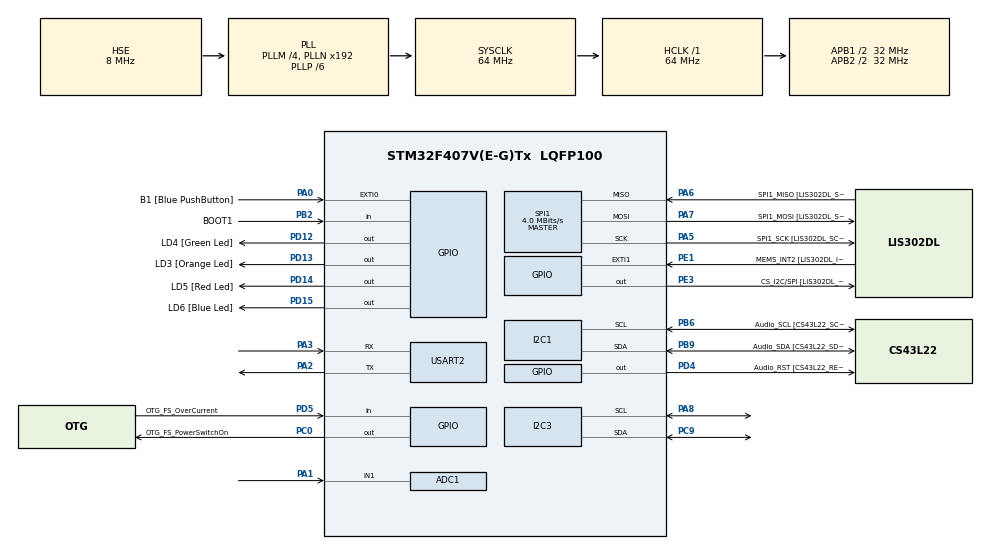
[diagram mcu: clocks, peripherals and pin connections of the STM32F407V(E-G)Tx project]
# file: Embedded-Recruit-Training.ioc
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ADC1.Channel-0\#ChannelRegularConversion=ADC_CHANNEL_1
ADC1.ClockPrescaler=ADC_CLOCK_SYNC_PCLK_DIV4
ADC1.NbrOfConversionFlag=1
ADC1.Rank-0\#ChannelRegularConversion=1
ADC1.SamplingTime-0\#ChannelRegularConversion=ADC_SAMPLETIME_3CYCLES
ADC1.master=1
Mcu.Family=STM32F4
Mcu.Name=STM32F407V(E-G)Tx
Mcu.Package=LQFP100
NVIC.PriorityGroup=NVIC_PRIORITYGROUP_0
PA0-WKUP.GPIO_Label=B1 [Blue PushButton]
PA0-WKUP.GPIO_ModeDefaultEXTI=GPIO_MODE_EVT_RISING
PA0-WKUP.GPIO_PuPd=GPIO_NOPULL
PA0-WKUP.Signal=GPXTI0
PA1.Signal=ADCx_IN1
PA10.GPIO_Label=OTG_FS_ID
PA10.GPIO_Mode=GPIO_MODE_AF_PP
PA10.GPIO_PuPd=GPIO_NOPULL
PA10.GPIO_Speed=GPIO_SPEED_FREQ_LOW
PA10.Signal=USB_OTG_FS_ID
PA11.GPIO_Label=OTG_FS_DM
PA11.GPIO_Mode=GPIO_MODE_AF_PP
PA11.GPIO_PuPd=GPIO_NOPULL
PA11.GPIO_Speed=GPIO_SPEED_FREQ_LOW
PA11.Signal=USB_OTG_FS_DM
PA12.GPIO_Label=OTG_FS_DP
PA12.GPIO_Mode=GPIO_MODE_AF_PP
PA12.GPIO_PuPd=GPIO_NOPULL
PA12.GPIO_Speed=GPIO_SPEED_FREQ_LOW
PA12.Signal=USB_OTG_FS_DP
PA13.GPIO_Label=SWDIO
PA13.Mode=Serial_Wire
PA13.Signal=SYS_JTMS-SWDIO
PA14.GPIO_Label=SWCLK
PA14.Mode=Serial_Wire
PA14.Signal=SYS_JTCK-SWCLK
PA2.Mode=Asynchronous
PA2.Signal=USART2_TX
PA3.Mode=Asynchronous
PA3.Signal=USART2_RX
PA4.GPIO_Label=I2S3_WS [CS43L22_LRCK]
PA4.GPIO_Mode=GPIO_MODE_AF_PP
PA4.GPIO_PuPd=GPIO_NOPULL
PA4.GPIO_Speed=GPIO_SPEED_FREQ_LOW
PA4.Signal=I2S3_WS
PA5.GPIO_Label=SPI1_SCK [LIS302DL_SCL/SPC]
PA5.GPIO_Mode=GPIO_MODE_AF_PP
PA5.GPIO_PuPd=GPIO_NOPULL
PA5.GPIO_Speed=GPIO_SPEED_FREQ_LOW
PA5.Mode=Full_Duplex_Master
PA5.Signal=SPI1_SCK
PA6.GPIO_Label=SPI1_MISO [LIS302DL_SDO]
PA6.GPIO_Mode=GPIO_MODE_AF_PP
PA6.GPIO_PuPd=GPIO_NOPULL
PA6.GPIO_Speed=GPIO_SPEED_FREQ_LOW
PA6.Mode=Full_Duplex_Master
PA6.Signal=SPI1_MISO
PA7.GPIO_Label=SPI1_MOSI [LIS302DL_SDA/SDI/SDO]
PA7.GPIO_Mode=GPIO_MODE_AF_PP
PA7.GPIO_PuPd=GPIO_NOPULL
PA7.GPIO_Speed=GPIO_SPEED_FREQ_LOW
PA7.Mode=Full_Duplex_Master
PA7.Signal=SPI1_MOSI
PA8.Mode=I2C
PA8.Signal=I2C3_SCL
PA9.GPIO_Label=VBUS_FS
PA9.GPIO_Mode=GPIO_MODE_INPUT
PA9.GPIO_PuPd=GPIO_NOPULL
PA9.Signal=USB_OTG_FS_VBUS
PB10.GPIO_Label=CLK_IN [MP45DT02_CLK]
PB10.GPIO_Mode=GPIO_MODE_AF_PP
PB10.GPIO_PuPd=GPIO_NOPULL
PB10.GPIO_Speed=GPIO_SPEED_FREQ_LOW
PB10.Signal=I2S2_CK
PB2.GPIO_Label=BOOT1
PB2.GPIO_Mode=GPIO_MODE_INPUT
PB2.GPIO_PuPd=GPIO_NOPULL
PB2.Signal=GPIO_Input
PB3.GPIO_Label=SWO
PB3.Signal=SYS_JTDO-SWO
PB6.GPIO_Label=Audio_SCL [CS43L22_SCL]
PB6.GPIO_Mode=GPIO_MODE_AF_OD
PB6.GPIO_Pu=GPIO_PULLUP
PB6.GPIO_PuPd=GPIO_NOPULL
PB6.GPIO_Speed=GPIO_SPEED_FREQ_LOW
PB6.Mode=I2C
PB6.Signal=I2C1_SCL
PB9.GPIO_Label=Audio_SDA [CS43L22_SDA]
PB9.GPIO_Mode=GPIO_MODE_AF_OD
PB9.GPIO_Pu=GPIO_PULLUP
PB9.GPIO_PuPd=GPIO_NOPULL
PB9.GPIO_Speed=GPIO_SPEED_FREQ_LOW
PB9.Mode=I2C
PB9.Signal=I2C1_SDA
PC0.GPIO_Label=OTG_FS_PowerSwitchOn
PC0.GPIO_PuPd=GPIO_NOPULL
PC0.GPIO_Speed=GPIO_SPEED_FREQ_LOW
PC0.PinState=GPIO_PIN_SET
PC0.Signal=GPIO_Output
PC10.GPIO_Label=I2S3_SCK [CS43L22_SCLK]
PC10.GPIO_Mode=GPIO_MODE_AF_PP
PC10.GPIO_PuPd=GPIO_NOPULL
PC10.GPIO_Speed=GPIO_SPEED_FREQ_LOW
PC10.Signal=I2S3_CK
PC12.GPIO_Label=I2S3_SD [CS43L22_SDIN]
PC12.GPIO_Mode=GPIO_MODE_AF_PP
PC12.GPIO_PuPd=GPIO_NOPULL
PC12.GPIO_Speed=GPIO_SPEED_FREQ_LOW
PC12.Signal=I2S3_SD
PC14-OSC32_IN.GPIO_Label=PC14-OSC32_IN
PC14-OSC32_IN.Mode=LSE-External-Oscillator
PC14-OSC32_IN.Signal=RCC_OSC32_IN
PC15-OSC32_OUT.GPIO_Label=PC15-OSC32_OUT
PC15-OSC32_OUT.Mode=LSE-External-Oscillator
PC15-OSC32_OUT.Signal=RCC_OSC32_OUT
PC3.GPIO_Label=PDM_OUT [MP45DT02_DOUT]
PC3.GPIO_Mode=GPIO_MODE_AF_PP
PC3.GPIO_PuPd=GPIO_NOPULL
PC3.GPIO_Speed=GPIO_SPEED_FREQ_LOW
PC3.Signal=I2S2_SD
PC7.GPIO_Label=I2S3_MCK [CS43L22_MCLK]
PC7.GPIO_Mode=GPIO_MODE_AF_PP
PC7.GPIO_PuPd=GPIO_NOPULL
PC7.GPIO_Speed=GPIO_SPEED_FREQ_LOW
PC7.Signal=I2S3_MCK
PC9.Mode=I2C
PC9.Signal=I2C3_SDA
PD12.GPIO_Label=LD4 [Green Led]
PD12.GPIO_PuPd=GPIO_NOPULL
PD12.GPIO_Speed=GPIO_SPEED_FREQ_LOW
PD12.Signal=GPIO_Output
PD13.GPIO_Label=LD3 [Orange Led]
PD13.GPIO_PuPd=GPIO_NOPULL
PD13.GPIO_Speed=GPIO_SPEED_FREQ_LOW
PD13.Signal=GPIO_Output
PD14.GPIO_Label=LD5 [Red Led]
PD14.GPIO_PuPd=GPIO_NOPULL
PD14.GPIO_Speed=GPIO_SPEED_FREQ_LOW
PD14.Signal=GPIO_Output
PD15.GPIO_Label=LD6 [Blue Led]
PD15.GPIO_PuPd=GPIO_NOPULL
PD15.GPIO_Speed=GPIO_SPEED_FREQ_LOW
PD15.Signal=GPIO_Output
PD4.GPIO_Label=Audio_RST [CS43L22_RESET]
PD4.GPIO_PuPd=GPIO_NOPULL
PD4.GPIO_Speed=GPIO_SPEED_FREQ_LOW
PD4.Signal=GPIO_Output
PD5.GPIO_Label=OTG_FS_OverCurrent
PD5.GPIO_Mode=GPIO_MODE_INPUT
PD5.GPIO_PuPd=GPIO_NOPULL
PD5.Signal=GPIO_Input
PE1.GPIO_Label=MEMS_INT2 [LIS302DL_INT2]
PE1.GPIO_ModeDefaultEXTI=GPIO_MODE_EVT_RISING
PE1.GPIO_PuPd=GPIO_NOPULL
PE1.Signal=GPXTI1
PE3.GPIO_Label=CS_I2C/SPI [LIS302DL_CS_I2C/SPI]
PE3.GPIO_PuPd=GPIO_NOPULL
PE3.GPIO_Speed=GPIO_SPEED_FREQ_LOW
PE3.Signal=GPIO_Output
PH0-OSC_IN.GPIO_Label=PH0-OSC_IN
PH0-OSC_IN.Mode=HSE-External-Oscillator
PH0-OSC_IN.Signal=RCC_OSC_IN
PH1-OSC_OUT.GPIO_Label=PH1-OSC_OUT
PH1-OSC_OUT.Mode=HSE-External-Oscillator
PH1-OSC_OUT.Signal=RCC_OSC_OUT
ProjectManager.HeapSize=0x200
ProjectManager.StackSize=0x400
ProjectManager.TargetToolchain=STM32CubeIDE
RCC.48MHZClocksFreq_Value=48000000
RCC.AHBFreq_Value=64000000
RCC.APB1CLKDivider=RCC_HCLK_DIV2
RCC.APB1Freq_Value=32000000
RCC.APB1TimFreq_Value=64000000
RCC.APB2CLKDivider=RCC_HCLK_DIV2
RCC.APB2Freq_Value=32000000
RCC.APB2TimFreq_Value=64000000
RCC.CortexFreq_Value=64000000
RCC.HCLKFreq_Value=64000000
RCC.HSE_VALUE=8000000
RCC.HSI_VALUE=16000000
RCC.PLLI2SN=50
RCC.PLLM=4
RCC.PLLP=RCC_PLLP_DIV6
RCC.PLLQ=8
RCC.PLLSourceVirtual=RCC_PLLSOURCE_HSE
RCC.SYSCLKFreq_VALUE=64000000
RCC.SYSCLKSource=RCC_SYSCLKSOURCE_PLLCLK
RCC.VCOOutputFreq_Value=384000000
SH.ADCx_IN1.0=ADC1_IN1,IN1
SPI1.BaudRatePrescaler=SPI_BAUDRATEPRESCALER_8
SPI1.BaudRatePrescaler-Full_Duplex_Master=SPI_BAUDRATEPRESCALER_2
SPI1.CalculateBaudRate=4.0 MBits/s
SPI1.CalculateBaudRate-Full_Duplex_Master=42.0 MBits/s
SPI1.Direction=SPI_DIRECTION_2LINES
SPI1.Mode=SPI_MODE_MASTER
SPI1.Mode-Full_Duplex_Master=SPI_MODE_MASTER
SPI1.VirtualType=VM_MASTER
USART2.VirtualMode=VM_ASYNC
board=STM32F407G-DISC1

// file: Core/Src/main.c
/* USER CODE BEGIN Header */
/**
  ******************************************************************************
  * @file           : main.c
  * @brief          : Main program body
  ******************************************************************************
  * @attention
  *
  * Copyright (c) 2024 STMicroelectronics.
  * All rights reserved.
  *
  * This software is licensed under terms that can be found in the LICENSE file
  * in the root directory of this software component.
  * If no LICENSE file comes with this software, it is provided AS-IS.
  *
  ******************************************************************************
  */
/* USER CODE END Header */
#include "main.h"
#include "cmsis_os.h"

/* USER CODE BEGIN Includes */
#include <stdint.h>

#include "0_BlinkyLED.h"
#include "1_UART.h"
#include "2_LIS302DL.h"
#include "3_TSL2591.h"
#include "4_Potentiometer.h"
/* USER CODE END Includes */

/* USER CODE BEGIN PTD */
typedef enum {
	Task0_GPIO = 0,
	Task1_UART,
	Task2_SPI,
	Task3_I2C,
	Task4_ADC
} task_t;
/* USER CODE END PTD */

/* USER CODE BEGIN PM */
#define ever (;;)
/* USER CODE END PM */

ADC_HandleTypeDef hadc1;

I2C_HandleTypeDef hi2c1;
I2C_HandleTypeDef hi2c3;

SPI_HandleTypeDef hspi1;

UART_HandleTypeDef huart2;

/* Definitions for defaultTask */

osThreadId_t defaultTaskHandle;

//----------------------------------------------------------------------------------------------------------------------
osThreadId_t spiTaskID, i2cTaskID, adcTaskID, blinkTaskID;
//----------------------------------------------------------------------------------------------------------------------

const osThreadAttr_t defaultTask_attributes = {
  .name = "defaultTask",
  .stack_size = 128 * 4,
  .priority = (osPriority_t) osPriorityNormal,
};

//-----------------------------------------------------------------------------------------------------------------------------------
static const osThreadAttr_t spiTask_attr   = {
		.name="spiTask",
		.stack_size=128 * 4,
		.priority=(osPriority_t)osPriorityNormal
};
static const osThreadAttr_t i2cTask_attr   = {
		.name="i2cTask",
		.stack_size=128 * 4,
		.priority=(osPriority_t)osPriorityNormal
};
static const osThreadAttr_t adcTask_attr   = {
		.name="adcTask",
		.stack_size=128 * 4,
		.priority=(osPriority_t)osPriorityNormal
};
static const osThreadAttr_t blinkTask_attr = {
		.name="blinkSup",
		.stack_size=128 * 4,
		.priority=(osPriority_t)osPriorityAboveNormal
};

//---------------------------------------------------------------------------------------------------------------------------------------------

osThreadAttr_t;
/* USER CODE BEGIN PV */
// Current Task
task_t ONBOARDING_TASK = 0;

// UART variables
uint8_t uart_tx_buffer[] = "Welcome to Solar Car!\n\r";

// Potentiometer variables
uint32_t adc_raw_value;
float adc_percentage;

// Accelerometer (SPI) variables
int8_t x, y, z;
uint8_t who_am_i;

// Lux Sensor (I2C) variables
uint8_t C0DATA;
uint8_t C1DATA;
/* USER CODE END PV */

void SystemClock_Config(void);
static void MX_GPIO_Init(void);
static void MX_I2C1_Init(void);
static void MX_SPI1_Init(void);
static void MX_ADC1_Init(void);
static void MX_I2C3_Init(void);
static void MX_USART2_UART_Init(void);
void StartDefaultTask(void *argument);

static void spiTask(void *arg) {
	  lis302dl_Init();
	  lis302dl_Read_Register(Who_Am_I_REG_ADDR, &who_am_i);
	  osDelay(500);
}

static void i2cTask(void *arg) {
		tsl2591_Init();
		osDelay(500);
  }

static void adcTask(void *arg) {
		read_ADC(adc_raw_value, &adc_percentage);
		osDelay(500);
}

int main(void)
{

  /* MCU Configuration--------------------------------------------------------*/

  /* Reset of all peripherals, Initializes the Flash interface and the Systick. */
  HAL_Init();

  /* Configure the system clock */
  SystemClock_Config();

  /* Initialize all configured peripherals */
  MX_GPIO_Init();
  MX_I2C1_Init();
  MX_SPI1_Init();
  MX_ADC1_Init();
  MX_I2C3_Init();
  MX_USART2_UART_Init();
  /* USER CODE BEGIN 2 */

  uint8_t who_am_i;

  if (ONBOARDING_TASK == Task2_SPI) {
	  lis302dl_Init();
	  lis302dl_Read_Register(Who_Am_I_REG_ADDR, &who_am_i);
	  HAL_Delay(1);
  }

  if (ONBOARDING_TASK == Task3_I2C) {
	  tsl2591_Init();
  }
  /* USER CODE END 2 */

  /* Init scheduler */
  osKernelInitialize();

  /* Create the thread(s) */
  /* creation of defaultTask */
  defaultTaskHandle = osThreadNew(StartDefaultTask, NULL, &defaultTask_attributes);

  spiTaskID = osThreadNew(spiTask, NULL, &spiTask_attr);

  /* Start scheduler */
  osKernelStart();

  /* We should never get here as control is now taken by the scheduler */

  /* Infinite loop */
  /* USER CODE BEGIN WHILE */
  while (1)
  {
	  switch (ONBOARDING_TASK) {
		  case Task0_GPIO:
			  blinky_LED();
			  break;

		  case Task1_UART:
			  UART_Transmit(uart_tx_buffer, sizeof(uart_tx_buffer));
			  HAL_Delay(500);
			  break;

		  case Task2_SPI:
			  if (who_am_i == 0x3F) {
				  lis302dl_Poll_Data(&x, &y, &z);
			  }
			  break;

		  case Task3_I2C:
			  tsl2591_Poll_Data(&C0DATA, &C1DATA);
			  HAL_Delay(250);
			  break;

		  case Task4_ADC:
			  read_ADC(&adc_raw_value, &adc_percentage);
			  break;
	  }
    /* USER CODE END WHILE */

  }
}

void SystemClock_Config(void)
{
  RCC_OscInitTypeDef RCC_OscInitStruct = {0};
  RCC_ClkInitTypeDef RCC_ClkInitStruct = {0};

  /** Configure the main internal regulator output voltage
  */
  __HAL_RCC_PWR_CLK_ENABLE();
  __HAL_PWR_VOLTAGESCALING_CONFIG(PWR_REGULATOR_VOLTAGE_SCALE1);

  /** Initializes the RCC Oscillators according to the specified parameters
  * in the RCC_OscInitTypeDef structure.
  */
  RCC_OscInitStruct.OscillatorType = RCC_OSCILLATORTYPE_HSE;
  RCC_OscInitStruct.HSEState = RCC_HSE_ON;
  RCC_OscInitStruct.PLL.PLLState = RCC_PLL_ON;
  RCC_OscInitStruct.PLL.PLLSource = RCC_PLLSOURCE_HSE;
  RCC_OscInitStruct.PLL.PLLM = 4;
  RCC_OscInitStruct.PLL.PLLN = 192;
  RCC_OscInitStruct.PLL.PLLP = RCC_PLLP_DIV6;
  RCC_OscInitStruct.PLL.PLLQ = 8;
  if (HAL_RCC_OscConfig(&RCC_OscInitStruct) != HAL_OK)
  {
    Error_Handler();
  }

  /** Initializes the CPU, AHB and APB buses clocks
  */
  RCC_ClkInitStruct.ClockType = RCC_CLOCKTYPE_HCLK|RCC_CLOCKTYPE_SYSCLK
                              |RCC_CLOCKTYPE_PCLK1|RCC_CLOCKTYPE_PCLK2;
  RCC_ClkInitStruct.SYSCLKSource = RCC_SYSCLKSOURCE_PLLCLK;
  RCC_ClkInitStruct.AHBCLKDivider = RCC_SYSCLK_DIV1;
  RCC_ClkInitStruct.APB1CLKDivider = RCC_HCLK_DIV2;
  RCC_ClkInitStruct.APB2CLKDivider = RCC_HCLK_DIV2;

  if (HAL_RCC_ClockConfig(&RCC_ClkInitStruct, FLASH_LATENCY_2) != HAL_OK)
  {
    Error_Handler();
  }
}

static void MX_ADC1_Init(void)
{

  ADC_ChannelConfTypeDef sConfig = {0};

  /** Configure the global features of the ADC (Clock, Resolution, Data Alignment and number of conversion)
  */
  hadc1.Instance = ADC1;
  hadc1.Init.ClockPrescaler = ADC_CLOCK_SYNC_PCLK_DIV4;
  hadc1.Init.Resolution = ADC_RESOLUTION_12B;
  hadc1.Init.ScanConvMode = DISABLE;
  hadc1.Init.ContinuousConvMode = DISABLE;
  hadc1.Init.DiscontinuousConvMode = DISABLE;
  hadc1.Init.ExternalTrigConvEdge = ADC_EXTERNALTRIGCONVEDGE_NONE;
  hadc1.Init.ExternalTrigConv = ADC_SOFTWARE_START;
  hadc1.Init.DataAlign = ADC_DATAALIGN_RIGHT;
  hadc1.Init.NbrOfConversion = 1;
  hadc1.Init.DMAContinuousRequests = DISABLE;
  hadc1.Init.EOCSelection = ADC_EOC_SINGLE_CONV;
  if (HAL_ADC_Init(&hadc1) != HAL_OK)
  {
    Error_Handler();
  }

  /** Configure for the selected ADC regular channel its corresponding rank in the sequencer and its sample time.
  */
  sConfig.Channel = ADC_CHANNEL_1;
  sConfig.Rank = 1;
  sConfig.SamplingTime = ADC_SAMPLETIME_3CYCLES;
  if (HAL_ADC_ConfigChannel(&hadc1, &sConfig) != HAL_OK)
  {
    Error_Handler();
  }

}

static void MX_I2C1_Init(void)
{

  hi2c1.Instance = I2C1;
  hi2c1.Init.ClockSpeed = 100000;
  hi2c1.Init.DutyCycle = I2C_DUTYCYCLE_2;
  hi2c1.Init.OwnAddress1 = 0;
  hi2c1.Init.AddressingMode = I2C_ADDRESSINGMODE_7BIT;
  hi2c1.Init.DualAddressMode = I2C_DUALADDRESS_DISABLE;
  hi2c1.Init.OwnAddress2 = 0;
  hi2c1.Init.GeneralCallMode = I2C_GENERALCALL_DISABLE;
  hi2c1.Init.NoStretchMode = I2C_NOSTRETCH_DISABLE;
  if (HAL_I2C_Init(&hi2c1) != HAL_OK)
  {
    Error_Handler();
  }

}

static void MX_I2C3_Init(void)
{

  hi2c3.Instance = I2C3;
  hi2c3.Init.ClockSpeed = 100000;
  hi2c3.Init.DutyCycle = I2C_DUTYCYCLE_2;
  hi2c3.Init.OwnAddress1 = 0;
  hi2c3.Init.AddressingMode = I2C_ADDRESSINGMODE_7BIT;
  hi2c3.Init.DualAddressMode = I2C_DUALADDRESS_DISABLE;
  hi2c3.Init.OwnAddress2 = 0;
  hi2c3.Init.GeneralCallMode = I2C_GENERALCALL_DISABLE;
  hi2c3.Init.NoStretchMode = I2C_NOSTRETCH_DISABLE;
  if (HAL_I2C_Init(&hi2c3) != HAL_OK)
  {
    Error_Handler();
  }

}

static void MX_SPI1_Init(void)
{

  /* SPI1 parameter configuration*/
  hspi1.Instance = SPI1;
  hspi1.Init.Mode = SPI_MODE_MASTER;
  hspi1.Init.Direction = SPI_DIRECTION_2LINES;
  hspi1.Init.DataSize = SPI_DATASIZE_8BIT;
  hspi1.Init.CLKPolarity = SPI_POLARITY_LOW;
  hspi1.Init.CLKPhase = SPI_PHASE_1EDGE;
  hspi1.Init.NSS = SPI_NSS_SOFT;
  hspi1.Init.BaudRatePrescaler = SPI_BAUDRATEPRESCALER_8;
  hspi1.Init.FirstBit = SPI_FIRSTBIT_MSB;
  hspi1.Init.TIMode = SPI_TIMODE_DISABLE;
  hspi1.Init.CRCCalculation = SPI_CRCCALCULATION_DISABLE;
  hspi1.Init.CRCPolynomial = 10;
  if (HAL_SPI_Init(&hspi1) != HAL_OK)
  {
    Error_Handler();
  }

}

static void MX_USART2_UART_Init(void)
{

  huart2.Instance = USART2;
  huart2.Init.BaudRate = 115200;
  huart2.Init.WordLength = UART_WORDLENGTH_8B;
  huart2.Init.StopBits = UART_STOPBITS_1;
  huart2.Init.Parity = UART_PARITY_NONE;
  huart2.Init.Mode = UART_MODE_TX_RX;
  huart2.Init.HwFlowCtl = UART_HWCONTROL_NONE;
  huart2.Init.OverSampling = UART_OVERSAMPLING_16;
  if (HAL_UART_Init(&huart2) != HAL_OK)
  {
    Error_Handler();
  }

}

static void MX_GPIO_Init(void)
{
  GPIO_InitTypeDef GPIO_InitStruct = {0};

  /* GPIO Ports Clock Enable */
  __HAL_RCC_GPIOE_CLK_ENABLE();
  __HAL_RCC_GPIOC_CLK_ENABLE();
  __HAL_RCC_GPIOH_CLK_ENABLE();
  __HAL_RCC_GPIOA_CLK_ENABLE();
  __HAL_RCC_GPIOB_CLK_ENABLE();
  __HAL_RCC_GPIOD_CLK_ENABLE();

  /*Configure GPIO pin Output Level */
  HAL_GPIO_WritePin(CS_I2C_SPI_GPIO_Port, CS_I2C_SPI_Pin, GPIO_PIN_RESET);

  /*Configure GPIO pin Output Level */
  HAL_GPIO_WritePin(OTG_FS_PowerSwitchOn_GPIO_Port, OTG_FS_PowerSwitchOn_Pin, GPIO_PIN_SET);

  /*Configure GPIO pin Output Level */
  HAL_GPIO_WritePin(GPIOD, LD4_Pin|LD3_Pin|LD5_Pin|LD6_Pin
                          |Audio_RST_Pin, GPIO_PIN_RESET);

  /*Configure GPIO pin : CS_I2C_SPI_Pin */
  GPIO_InitStruct.Pin = CS_I2C_SPI_Pin;
  GPIO_InitStruct.Mode = GPIO_MODE_OUTPUT_PP;
  GPIO_InitStruct.Pull = GPIO_NOPULL;
  GPIO_InitStruct.Speed = GPIO_SPEED_FREQ_LOW;
  HAL_GPIO_Init(CS_I2C_SPI_GPIO_Port, &GPIO_InitStruct);

  /*Configure GPIO pin : OTG_FS_PowerSwitchOn_Pin */
  GPIO_InitStruct.Pin = OTG_FS_PowerSwitchOn_Pin;
  GPIO_InitStruct.Mode = GPIO_MODE_OUTPUT_PP;
  GPIO_InitStruct.Pull = GPIO_NOPULL;
  GPIO_InitStruct.Speed = GPIO_SPEED_FREQ_LOW;
  HAL_GPIO_Init(OTG_FS_PowerSwitchOn_GPIO_Port, &GPIO_InitStruct);

  /*Configure GPIO pin : PDM_OUT_Pin */
  GPIO_InitStruct.Pin = PDM_OUT_Pin;
  GPIO_InitStruct.Mode = GPIO_MODE_AF_PP;
  GPIO_InitStruct.Pull = GPIO_NOPULL;
  GPIO_InitStruct.Speed = GPIO_SPEED_FREQ_LOW;
  GPIO_InitStruct.Alternate = GPIO_AF5_SPI2;
  HAL_GPIO_Init(PDM_OUT_GPIO_Port, &GPIO_InitStruct);

  /*Configure GPIO pin : B1_Pin */
  GPIO_InitStruct.Pin = B1_Pin;
  GPIO_InitStruct.Mode = GPIO_MODE_EVT_RISING;
  GPIO_InitStruct.Pull = GPIO_NOPULL;
  HAL_GPIO_Init(B1_GPIO_Port, &GPIO_InitStruct);

  /*Configure GPIO pin : I2S3_WS_Pin */
  GPIO_InitStruct.Pin = I2S3_WS_Pin;
  GPIO_InitStruct.Mode = GPIO_MODE_AF_PP;
  GPIO_InitStruct.Pull = GPIO_NOPULL;
  GPIO_InitStruct.Speed = GPIO_SPEED_FREQ_LOW;
  GPIO_InitStruct.Alternate = GPIO_AF6_SPI3;
  HAL_GPIO_Init(I2S3_WS_GPIO_Port, &GPIO_InitStruct);

  /*Configure GPIO pin : BOOT1_Pin */
  GPIO_InitStruct.Pin = BOOT1_Pin;
  GPIO_InitStruct.Mode = GPIO_MODE_INPUT;
  GPIO_InitStruct.Pull = GPIO_NOPULL;
  HAL_GPIO_Init(BOOT1_GPIO_Port, &GPIO_InitStruct);

  /*Configure GPIO pin : CLK_IN_Pin */
  GPIO_InitStruct.Pin = CLK_IN_Pin;
  GPIO_InitStruct.Mode = GPIO_MODE_AF_PP;
  GPIO_InitStruct.Pull = GPIO_NOPULL;
  GPIO_InitStruct.Speed = GPIO_SPEED_FREQ_LOW;
  GPIO_InitStruct.Alternate = GPIO_AF5_SPI2;
  HAL_GPIO_Init(CLK_IN_GPIO_Port, &GPIO_InitStruct);

  /*Configure GPIO pins : LD4_Pin LD3_Pin LD5_Pin LD6_Pin
                           Audio_RST_Pin */
  GPIO_InitStruct.Pin = LD4_Pin|LD3_Pin|LD5_Pin|LD6_Pin
                          |Audio_RST_Pin;
  GPIO_InitStruct.Mode = GPIO_MODE_OUTPUT_PP;
  GPIO_InitStruct.Pull = GPIO_NOPULL;
  GPIO_InitStruct.Speed = GPIO_SPEED_FREQ_LOW;
  HAL_GPIO_Init(GPIOD, &GPIO_InitStruct);

  /*Configure GPIO pins : I2S3_MCK_Pin I2S3_SCK_Pin I2S3_SD_Pin */
  GPIO_InitStruct.Pin = I2S3_MCK_Pin|I2S3_SCK_Pin|I2S3_SD_Pin;
  GPIO_InitStruct.Mode = GPIO_MODE_AF_PP;
  GPIO_InitStruct.Pull = GPIO_NOPULL;
  GPIO_InitStruct.Speed = GPIO_SPEED_FREQ_LOW;
  GPIO_InitStruct.Alternate = GPIO_AF6_SPI3;
  HAL_GPIO_Init(GPIOC, &GPIO_InitStruct);

  /*Configure GPIO pin : VBUS_FS_Pin */
  GPIO_InitStruct.Pin = VBUS_FS_Pin;
  GPIO_InitStruct.Mode = GPIO_MODE_INPUT;
  GPIO_InitStruct.Pull = GPIO_NOPULL;
  HAL_GPIO_Init(VBUS_FS_GPIO_Port, &GPIO_InitStruct);

  /*Configure GPIO pins : OTG_FS_ID_Pin OTG_FS_DM_Pin OTG_FS_DP_Pin */
  GPIO_InitStruct.Pin = OTG_FS_ID_Pin|OTG_FS_DM_Pin|OTG_FS_DP_Pin;
  GPIO_InitStruct.Mode = GPIO_MODE_AF_PP;
  GPIO_InitStruct.Pull = GPIO_NOPULL;
  GPIO_InitStruct.Speed = GPIO_SPEED_FREQ_LOW;
  GPIO_InitStruct.Alternate = GPIO_AF10_OTG_FS;
  HAL_GPIO_Init(GPIOA, &GPIO_InitStruct);

  /*Configure GPIO pin : OTG_FS_OverCurrent_Pin */
  GPIO_InitStruct.Pin = OTG_FS_OverCurrent_Pin;
  GPIO_InitStruct.Mode = GPIO_MODE_INPUT;
  GPIO_InitStruct.Pull = GPIO_NOPULL;
  HAL_GPIO_Init(OTG_FS_OverCurrent_GPIO_Port, &GPIO_InitStruct);

  /*Configure GPIO pin : MEMS_INT2_Pin */
  GPIO_InitStruct.Pin = MEMS_INT2_Pin;
  GPIO_InitStruct.Mode = GPIO_MODE_EVT_RISING;
  GPIO_InitStruct.Pull = GPIO_NOPULL;
  HAL_GPIO_Init(MEMS_INT2_GPIO_Port, &GPIO_InitStruct);

}

void StartDefaultTask(void *argument)
{
  /* USER CODE BEGIN 5 */
  /* Infinite loop */
  for ever
  {
    osDelay(1);
  }
  /* USER CODE END 5 */
}

void HAL_TIM_PeriodElapsedCallback(TIM_HandleTypeDef *htim)
{
  if (htim->Instance == TIM2) {
    HAL_IncTick();
  }
}

void Error_Handler(void)
{
  __disable_irq();
  while (1)
  {
  }
}
